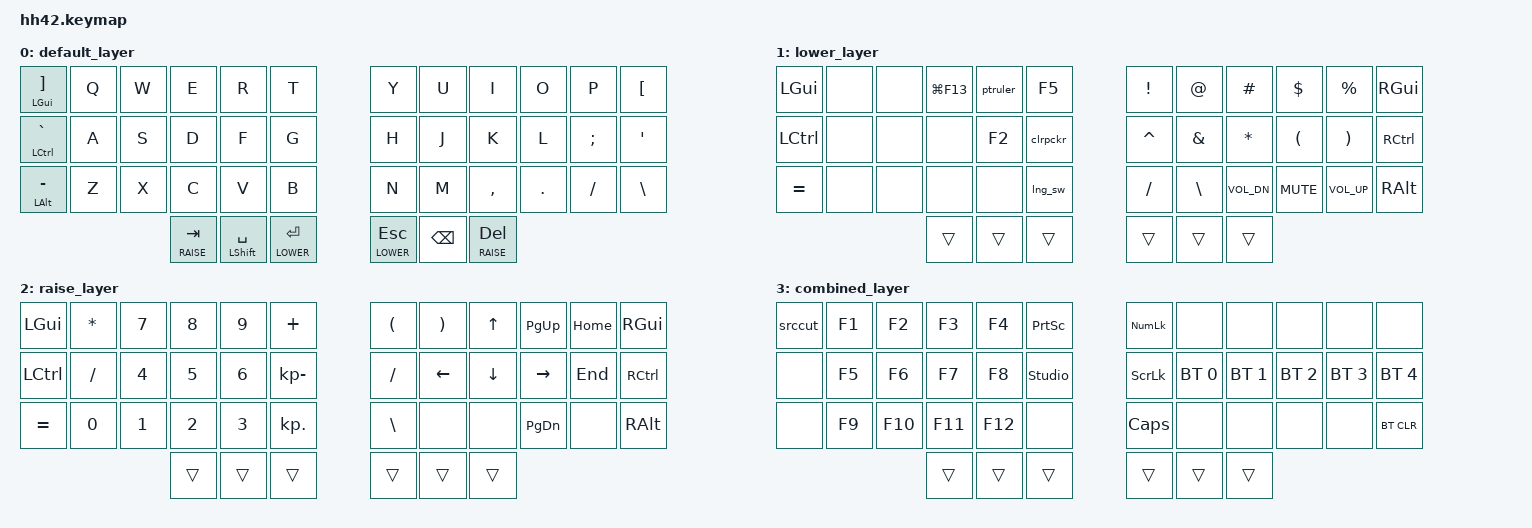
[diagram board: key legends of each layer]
/*
 * Copyright (c) 2020 The ZMK Contributors
 *
 * SPDX-License-Identifier: MIT
 */

#include <behaviors.dtsi>
#include <dt-bindings/zmk/bt.h>
#include <dt-bindings/zmk/keys.h>

#define DEFAULT 0
#define LOWER   1
#define RAISE   2
#define COMBINED 3

&mt {
    tapping-term-ms = <180>;
    flavor = "balanced";
};

/ {
    macros {

        ptruler: ptruler {
            compatible = "zmk,behavior-macro";
            #binding-cells = <0>;
            bindings =
                <&macro_press>,
                <&kp LGUI>,
                <&macro_press>,
                <&kp LCTL>,
                <&macro_press>,
                <&kp LSHFT>,
                <&macro_tap>,
                <&kp M>,
                <&macro_release>,
                <&kp LSHFT>,
                <&macro_release>,
                <&kp LCTL>,
                <&macro_release>,
                <&kp LGUI>;
        };

        clrpckr: clrpckr {
            compatible = "zmk,behavior-macro";
            #binding-cells = <0>;
            bindings =
                <&macro_press>,
                <&kp LGUI>,
                <&macro_press>,
                <&kp LSHFT>,
                <&macro_tap>,
                <&kp C>,
                <&macro_release>,
                <&kp LSHFT>,
                <&macro_release>,
                <&kp LGUI>;
        };

        lng_sw: lng_sw {
            compatible = "zmk,behavior-macro";
            #binding-cells = <0>;
            bindings =
                <&macro_press>,
                <&kp LGUI>,
                <&macro_tap>,
                <&kp SPACE>,
                <&macro_release>,
                <&kp LGUI>;
        };

        srccut: srccut {
            compatible = "zmk,behavior-macro";
            #binding-cells = <0>;
            bindings =
                <&macro_press>,
                <&kp LGUI>,
                <&macro_press>,
                <&kp LSHFT>,
                <&macro_tap>,
                <&kp S>,
                <&macro_release>,
                <&kp LSHFT>,
                <&macro_release>,
                <&kp LGUI>;
        };
    };

    conditional_layers {
        compatible = "zmk,conditional-layers";

        tri_layer {
            if-layers = <1 2>;
            then-layer = <3>;
        };
    };

    keymap {
        compatible = "zmk,keymap";

        default_layer {
            bindings = <
&mt LGUI RBKT    &kp Q  &kp W  &kp E          &kp R             &kp T              &kp Y          &kp U          &kp I          &kp O    &kp P     &kp LBKT
&mt LCTRL GRAVE  &kp A  &kp S  &kp D          &kp F             &kp G              &kp H          &kp J          &kp K          &kp L    &kp SEMI  &kp SINGLE_QUOTE
&mt LALT MINUS   &kp Z  &kp X  &kp C          &kp V             &kp B              &kp N          &kp M          &kp COMMA      &kp DOT  &kp FSLH  &kp BACKSLASH
                               &lt RAISE TAB  &mt LSHIFT SPACE  &lt LOWER ENTER    &lt LOWER ESC  &kp BACKSPACE  &lt RAISE DEL
            >;
        };

        lower_layer {
            bindings = <
&kp LEFT_GUI  &none  &none  &kp LG(F13) &ptruler &kp F5      &kp EXCL   &kp AT         &kp HASH      &kp DLLR    &kp PERCENT   &kp RGUI
&kp LCTRL     &none  &none  &none   &kp F2  &clrpckr    &kp CARET  &kp AMPERSAND  &kp ASTERISK  &kp LPAR    &kp RPAR      &kp RCTRL
&kp EQUAL     &none  &none  &none   &none   &lng_sw     &kp SLASH  &kp BACKSLASH  &kp C_VOL_DN  &kp C_MUTE  &kp C_VOL_UP  &kp RALT
                            &trans  &trans  &trans      &trans     &trans         &trans
            >;
        };

        raise_layer {
            bindings = <
&kp LGUI   &kp ASTRK  &kp N7  &kp N8  &kp N9  &kp PLUS        &kp LPAR       &kp RPAR  &kp UP    &kp PG_UP  &kp HOME  &kp RGUI
&kp LCTRL  &kp SLASH  &kp N4  &kp N5  &kp N6  &kp KP_MINUS    &kp SLASH      &kp LEFT  &kp DOWN  &kp RIGHT  &kp END   &kp RCTRL
&kp EQUAL  &kp N0     &kp N1  &kp N2  &kp N3  &kp KP_DOT      &kp BACKSLASH  &none     &none     &kp PG_DN  &none     &kp RALT
                              &trans  &trans  &trans          &trans         &trans    &trans
            >;
        };

        combined_layer {
            bindings = <
&srccut  &kp F1  &kp F2   &kp F3   &kp F4   &kp PSCRN    &kp KP_NUM      &none         &none         &none         &none         &none
&none    &kp F5  &kp F6   &kp F7   &kp F8   &studio_unlock        &kp SCROLLLOCK  &bt BT_SEL 0  &bt BT_SEL 1  &bt BT_SEL 2  &bt BT_SEL 3  &bt BT_SEL 4
&none    &kp F9  &kp F10  &kp F11  &kp F12  &none        &kp CAPS        &none         &none         &none         &none         &bt BT_CLR
                          &trans   &trans   &trans       &trans          &trans        &trans
            >;
        };
    };
};
